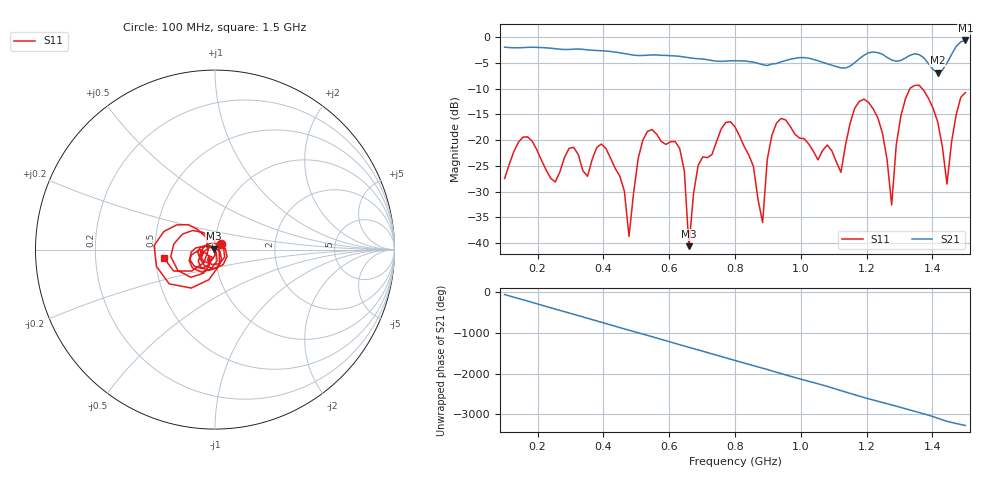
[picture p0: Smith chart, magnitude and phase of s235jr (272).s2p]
! NanoVNA-App
! Date: 2025-09-25 15:06:17
! Start: 100MHz Stop: 1,5GHz Points: 101
! S-Parameter data: F S11 S21 S12 S22
# Hz S RI R 50
!  Frequency  S11_Real  S11_Imag  S21_Real  S21_Imag  S12_Real  S12_Imag  S22_Real  S22_Imag
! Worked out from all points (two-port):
!   101 points, 100 MHz to 1.5 GHz, reference 50 ohm
!   highest |S21| = -0.66 dB at 1.5 GHz (marker M1); lowest = -6.9 dB at 1.416 GHz (marker M2)
!   |S21| within 3 dB of the highest: start of sweep to 615.2 MHz; 1.189 GHz to 1.255 GHz (65.99 MHz wide, 5.4 % of centre) (the widest 2 of 4)
!   lowest |S11| = -40.6 dB at 660 MHz (marker M3), VSWR 1.02, Z = 49.3 + j0.553 ohm
!   |S11| at or under -10 dB: start of sweep to 1.332 GHz; 1.369 GHz to end of sweep
!   S12 and S22 are empty: the file has one direction only
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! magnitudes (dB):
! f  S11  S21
! 100 MHz  -27.5  -2.0
! 156 MHz  -19.4  -2.1
! 338 MHz  -26.0  -2.4
! 408 MHz  -21.6  -2.7
! 478 MHz  -38.7  -3.4
! 520 MHz  -20.0  -3.6
! 576 MHz  -20.3  -3.5
! 632 MHz  -21.7  -3.7
! 660 MHz  -40.6  -4.0
! 688 MHz  -25.0  -4.2
! 800 MHz  -17.5  -4.6
! 884 MHz  -36.0  -5.4
! 926 MHz  -16.7  -5.1
! 1.038 GHz  -22.2  -4.3
! 1.122 GHz  -26.3  -6.0
! 1.192 GHz  -12.1  -3.5
! 1.248 GHz  -18.6  -3.3
! 1.276 GHz  -32.6  -4.5
! 1.332 GHz  -9.9  -3.5
! 1.416 GHz  -16.5  -6.9
! 1.444 GHz  -28.6  -5.0
! 1.5 GHz  -10.8  -0.7
